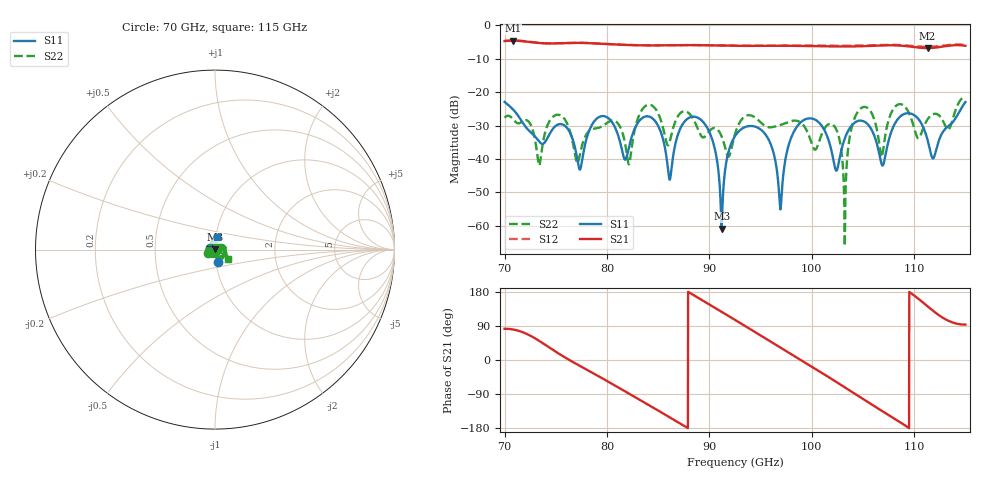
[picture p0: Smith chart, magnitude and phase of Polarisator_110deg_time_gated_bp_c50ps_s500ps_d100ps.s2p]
# Hz S RI R 1.000000
! Metas.Vna.Tools, 2.4.7898.19887
! Metas.Vna.Data, 2.4.7898.19873
! Created: UTC 2021.09.30 14:30:59
! FREQ  re:S1,1  im:S1,1  re:S2,1  im:S2,1  re:S1,2  im:S1,2  re:S2,2  im:S2,2
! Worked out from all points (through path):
!   2251 points, 70 GHz to 115 GHz, reference 1 ohm
!   highest |S21| = -4.54 dB at 70.8 GHz (marker M1); lowest = -6.8 dB at 111.3 GHz (marker M2)
!   lowest |S11| = -60.8 dB at 91.2 GHz (marker M3), VSWR 1.00, Z = 1 + j0.00177 ohm
!   |S11| at or under -10 dB: start of sweep to end of sweep
!   |S22| runs from -66.1 to -21.3 dB; largest |S21 - S12| = 0.12
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7e10  0.0174 -0.0696  0.0778 0.5794  0.0566 0.5859  -0.0383 -0.0163
7.08e10  0.0188 -0.0525  0.0961 0.585  0.0747 0.5923  -0.0359 0.0176
7.336e10  -0.0158 -0.00946  0.3457 0.4241  0.333 0.4372  0.00651 0.00473
7.75e10  0.00827 -0.000297  0.5223 -0.1679  0.5278 -0.1586  -0.00292 0.0144
7.926e10  -0.0301 -0.0305  0.3835 -0.3716  0.3934 -0.365  0.028 0.00966
8.214e10  -0.0117 -0.00921  0.0127 -0.5094  0.0284 -0.5104  0.00827 -0.00108
8.5e10  -0.0124 0.0288  -0.346 -0.3656  -0.3352 -0.379  -0.00884 -0.0473
8.612e10  0.00465 -0.00156  -0.4431 -0.243  -0.4369 -0.2594  -0.00114 0.0181
8.942e10  -0.00412 0.0353  -0.4619 0.2075  -0.4691 0.194  0.00584 -0.0203
9.12e10  -0.00021 0.000886  -0.3014 0.3991  -0.3135 0.3922  -0.00668 -0.0207
9.25e10  -0.00626 0.0212  -0.136 0.4773  -0.1503 0.4762  0.0111 -0.021
9.544e10  0.00986 -0.0216  0.2664 0.419  0.2551 0.4304  0.0135 0.0283
9.694e10  -0.00101 0.00145  0.4177 0.2704  0.4135 0.2844  -0.0116 -0.0303
9.802e10  0.0211 -0.00449  0.479 0.1305  0.4807 0.1436  -0.0277 0.0247
1e11  -0.011 -0.039  0.4683 -0.1471  0.4789 -0.1398  0.0162 0.0052
1.022e11  -0.00747 -0.00351  0.2816 -0.396  0.2995 -0.3966  0.0298 -0.00915
1.0322e11  -6.32e-05 -0.0203  0.1494 -0.4618  0.1701 -0.4673  -0.000451 -0.000208
1.045e11  -0.0246 -0.0279  -0.036 -0.4861  -0.0131 -0.5  0.0462 0.0225
1.0682e11  -0.00806 -0.00235  -0.3479 -0.3626  -0.3298 -0.3925  -0.0104 0.00277
1.075e11  -0.00637 -0.0177  -0.4144 -0.2893  -0.4005 -0.3228  0.0239 0.0299
1.113e11  -0.0121 0.0152  -0.3604 0.2833  -0.4139 0.2426  0.0332 -0.0209
1.15e11  0.00991 0.0708  -0.0301 0.4958  -0.1539 0.4872  0.0697 -0.0509
